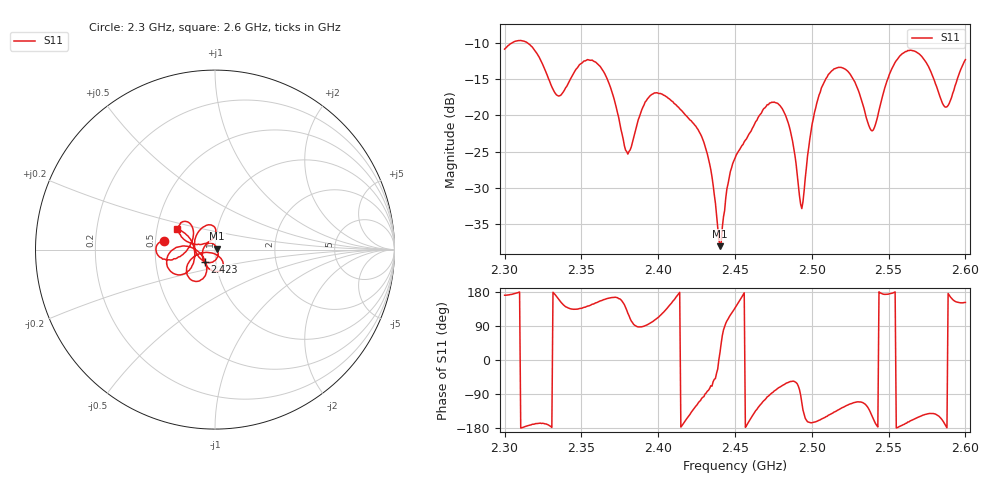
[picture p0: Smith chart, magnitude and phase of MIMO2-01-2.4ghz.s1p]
! NanoVNA-App
! Date: 2026-05-22 19:22:41
! Start: 2.3GHz Stop: 2.6GHz Points: 401
! S-Parameter data: F S11
# Hz S RI R 50
!  Frequency  S11_Real  S11_Imag
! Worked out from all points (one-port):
!   401 points, 2.3 GHz to 2.6 GHz, reference 50 ohm
!   lowest |S11| = -38.0 dB at 2.44 GHz (marker M1), VSWR 1.03, Z = 51.2 + j0.447 ohm
!   |S11| at or under -10 dB: start of sweep to 2.304752 GHz; 2.315 GHz to end of sweep
!   S11 on the Smith chart (normalised r, x): 2.3 GHz: 0.56, +0.06; 2.423 GHz: 0.89, -0.12; 2.6 GHz: 0.63, +0.15
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2.3e9  -0.2832 0.0454
2.31575e9  -0.3095 -0.0406
2.3375e9  -0.1212 0.0736
2.3495e9  -0.164 0.1571
2.3585e9  -0.2015 0.1212
2.3675e9  -0.1638 0.0503
2.375e9  -0.0835 0.0281
2.38025e9  -0.0297 0.0453
2.3945e9  -0.0152 0.1352
2.4125e9  -0.1138 0.0194
2.423e9  -0.0563 -0.0676
2.43275e9  0.00884 -0.0493
2.44025e9  0.0118 0.00436
2.45e9  -0.0371 0.0345
2.474e9  0.00653 -0.1234
2.4815e9  0.0443 -0.0981
2.4875e9  0.0372 -0.0549
2.4935e9  -0.009 -0.0209
2.50025e9  -0.0848 -0.022
2.50625e9  -0.1413 -0.0634
2.51525e9  -0.1522 -0.1455
2.525e9  -0.0841 -0.1733
2.53925e9  -0.0664 -0.0414
2.552e9  -0.2084 0.0144
2.5625e9  -0.2695 -0.0795
2.57375e9  -0.1916 -0.1408
2.58725e9  -0.1134 -0.0121
2.6e9  -0.214 0.1146
